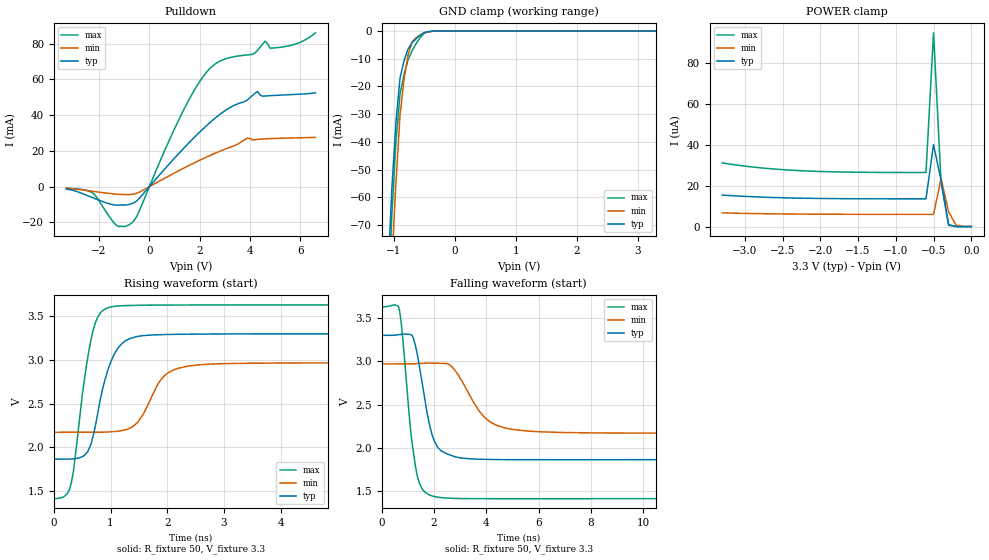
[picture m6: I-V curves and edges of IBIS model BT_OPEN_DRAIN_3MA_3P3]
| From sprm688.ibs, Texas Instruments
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|   Model Cell BT_OPEN_DRAIN_3MA_3P3
|BT_OPEN_DRAIN_3MA_3P3
[Model]   BT_OPEN_DRAIN_3MA_3P3
Model_type   I/O_open_drain
Polarity   Inverting
Enable   Active-Low
Vinl =  0.8
Vinh =  2
Cref =  15.0000pF
Rref =  100.0000M
Vref =  0V
Vmeas =  1.65
C_comp   3.98845p   2.03906p   4.55356p
[Model Spec]
Vinl   0.8   0.8   0.8
Vinh   2   2   2
[Temperature Range]   25   155   -40
[Voltage Range]   3.3   2.97   3.63
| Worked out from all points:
|   slope of the pulldown table from 0 to 0.495 V, typ, clamps not added: 61.7 ohm
|   GND clamp passes 1 mA (typ) near -0.53 V on its own axis
|   rising waveform, R_fixture 50, V_fixture 3.3: 20-80 % time 326ps typ, 410ps min, 271ps max; typ from 1.87 V to 3.3 V
|   falling waveform, R_fixture 50, V_fixture 3.3: 20-80 % time 525ps typ, 1.02ns min, 426ps max; typ from 3.3 V to 1.86 V
| Nom Voltages:
|   BIASFET=3.3, VDD=1.2, VDDS=3.3, VSS=0
| Min Voltages:
|   BIASFET=2.97, VDD=1.08, VDDS=2.97, VSS=0
| Max Voltages:
|   BIASFET=3.63, VDD=1.32, VDDS=3.63, VSS=0
[POWER_clamp]
|   voltage   I(typ)   I(min)   I(max)
-3.3V     15.41uA    6.707uA    31.17uA
-2.8V     14.47uA    6.332uA    28.78uA
-2.2V     13.87uA    6.102uA    27.25uA
-1.6V     13.64uA    6.016uA    26.64uA
-600mV    13.58uA    5.99uA     26.46uA
-500mV    40.13uA    5.991uA    94.82uA
-400mV    22.54uA    23.52uA    21.76uA
-300mV    969.1nA    7.215uA    616.4nA
-200mV    29.93nA    661.1nA    11.88nA
0V        1.388nA    48.32nA    1.243nA
[Pulldown]
|   voltage   I(typ)   I(min)   I(max)
-3.3V     -1.368mA   -936.2uA   -859.1uA
-2.3V     -5.876mA   -2.477mA   -3.094mA
-1.3V     -10.31mA   -4.18mA    -21.72mA
-800mV    -9.945mA   -4.384mA   -21.31mA
-500mV    -7.961mA   -3.661mA   -16.65mA
1.4V      21.97mA    10.6mA     43.88mA
2.4V      35.71mA    17.39mA    65.97mA
4.3V      53.2mA     26.41mA    76.22mA
4.6V      50.69mA    26.72mA    81.32mA
4.8V      50.87mA    26.86mA    77.39mA
5.4V      51.3mA     27.13mA    78.32mA
6.6V      52.45mA    27.57mA    85.99mA
[GND_clamp]
|   voltage   I(typ)   I(min)   I(max)
-3.3V     -1.746A    -1.481A    -2.454A
-1.1V     -88.72mA   -114.8mA   -101.4mA
-1.033V   -56.66mA   -82.94mA   -65.99mA
-966.7mV  -32.75mA   -54.79mA   -39.79mA
-900mV    -16.98mA   -30.37mA   -22.81mA
-833.3mV  -10.67mA   -17.32mA   -15.58mA
-766.7mV  -6.402mA   -8.477mA   -10.34mA
-700mV    -4.171mA   -3.846mA   -7.085mA
-566.7mV  -1.511mA   -1.331mA   -2.329mA
-500mV    -537.7uA   -639.3uA   -683uA
-300mV    -1.439uA   -12.56uA   -707.1nA
3.3V      1.388nA    14.18uA    1.029nA
[Ramp]
| variable   typ   min   max
dV/dt_f 0.87243134/0.53137713n 0.48603643/1.0377786n   1.344851/0.42962575n
dV/dt_r 0.81373668/0.78906954n 0.45222846/1.5290324n  1.2226949/0.57631885n
R_load = 50
[Rising Waveform]
R_fixture = 50
V_fixture = 3.3
V_fixture_min = 2.97
V_fixture_max = 3.63
|   time   V(typ)   V(min)   V(max)
0s        1.866V     2.173V     1.413V
210.5ps   1.866V     2.173V     1.452V
308.7ps   1.868V     2.173V     1.593V
599.8ps   1.954V     2.173V     3.032V
785.8ps   2.43V      2.173V     3.504V
1.038ns   3.027V     2.179V     3.611V
1.48ns    3.27V      2.287V     3.626V
1.977ns   3.291V     2.834V     3.629V
2.72ns    3.297V     2.952V     3.63V
20.03ns   3.3V       2.97V      3.63V
[Falling Waveform]
R_fixture = 50
V_fixture = 3.3
V_fixture_min = 2.97
V_fixture_max = 3.63
|   time   V(typ)   V(min)   V(max)
0s        3.3V       2.97V      3.63V
667.3ps   3.31V      2.97V      3.606V
1.125ns   3.308V     2.97V      2.146V
1.312ns   3.151V     2.972V     1.745V
1.507ns   2.821V     2.975V     1.546V
1.894ns   2.187V     2.979V     1.446V
2.726ns   1.903V     2.923V     1.415V
3.935ns   1.866V     2.351V     1.411V
4.973ns   1.862V     2.214V     1.411V
20.03ns   1.865V     2.171V     1.413V
